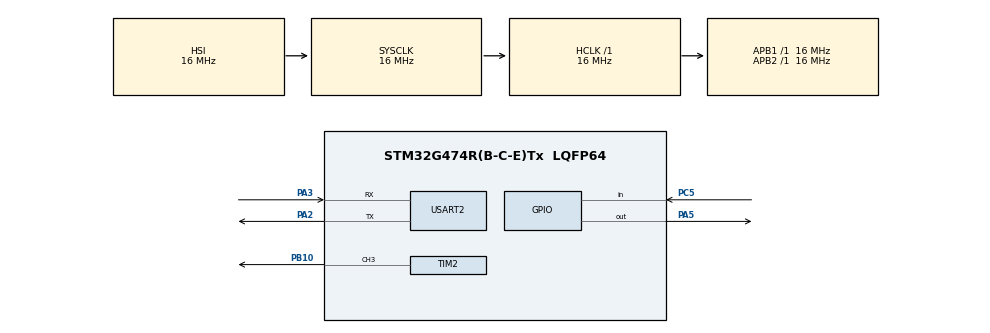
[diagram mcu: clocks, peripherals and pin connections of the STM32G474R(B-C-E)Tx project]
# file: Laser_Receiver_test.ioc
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Mcu.Family=STM32G4
Mcu.Name=STM32G474R(B-C-E)Tx
Mcu.Package=LQFP64
NVIC.PriorityGroup=NVIC_PRIORITYGROUP_4
NVIC.USART2_IRQn=true\:0\:0\:false\:false\:true\:true\:true\:true
PA2.Mode=Asynchronous
PA2.Signal=USART2_TX
PA3.Mode=Asynchronous
PA3.Signal=USART2_RX
PA5.Signal=GPIO_Output
PB10.Signal=S_TIM2_CH3
PC5.Signal=GPIO_Input
ProjectManager.HeapSize=0x200
ProjectManager.StackSize=0x400
ProjectManager.TargetToolchain=STM32CubeIDE
RCC.AHBFreq_Value=16000000
RCC.APB1Freq_Value=16000000
RCC.APB1TimFreq_Value=16000000
RCC.APB2Freq_Value=16000000
RCC.APB2TimFreq_Value=16000000
RCC.CortexFreq_Value=16000000
RCC.EXTERNAL_CLOCK_VALUE=12288000
RCC.HCLKFreq_Value=16000000
RCC.HSE_VALUE=8000000
RCC.HSI48_VALUE=48000000
RCC.HSI_VALUE=16000000
RCC.LSE_VALUE=32768
RCC.SYSCLKFreq_VALUE=16000000
RCC.USBFreq_Value=64000000
RCC.VCOOutputFreq_Value=128000000
SH.S_TIM2_CH3.0=TIM2_CH3,PWM Generation3 CH3
TIM2.Channel-PWM\ Generation3\ CH3=TIM_CHANNEL_3
TIM2.PeriodNoDither=999
TIM2.Prescaler=15
USART2.VirtualMode-Asynchronous=VM_ASYNC
VP_SYS_VS_DBSignals.Mode=DisableDeadBatterySignals
VP_TIM2_VS_ClockSourceINT.Mode=Internal
board=custom

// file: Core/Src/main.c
/* USER CODE BEGIN Header */
/**
  ******************************************************************************
  * @file           : main.c
  * @brief          : Main program body
  ******************************************************************************
  * @attention
  *
  * Copyright (c) 2025 STMicroelectronics.
  * All rights reserved.
  *
  * This software is licensed under terms that can be found in the LICENSE file
  * in the root directory of this software component.
  * If no LICENSE file comes with this software, it is provided AS-IS.
  *
  ******************************************************************************
  */
/* USER CODE END Header */
#include "main.h"

TIM_HandleTypeDef htim2;

UART_HandleTypeDef huart2;

/* USER CODE BEGIN PV */
char tx_buffer[32];
uint8_t cur_light;
uint8_t rx_indx;
uint8_t rx_data[1];
uint8_t rx_buffer[100];
uint8_t transfer_cplt;
/* USER CODE END PV */

void SystemClock_Config(void);
static void MX_GPIO_Init(void);
static void MX_USART2_UART_Init(void);
static void MX_TIM2_Init(void);
/* USER CODE BEGIN PFP */
static void Transmit_message_OOK(uint8_t*, uint8_t);
static void Transmit_message_PPM(uint8_t*, uint8_t);
/* USER CODE END PFP */

int main(void)
{

  /* MCU Configuration--------------------------------------------------------*/

  /* Reset of all peripherals, Initializes the Flash interface and the Systick. */
  HAL_Init();

  /* Configure the system clock */
  SystemClock_Config();

  /* Initialize all configured peripherals */
  MX_GPIO_Init();
  MX_USART2_UART_Init();
  MX_TIM2_Init();
  /* USER CODE BEGIN 2 */
  TIM2->CCR3 = 500;
  HAL_TIM_PWM_Start(&htim2, TIM_CHANNEL_3);

  HAL_UART_Receive_IT(&huart2, rx_data, 1);
  /* USER CODE END 2 */

  /* Infinite loop */
  /* USER CODE BEGIN WHILE */
  while (1)
  {

	  HAL_UART_Transmit(&huart2, (uint8_t*)"Please, insert your message\n\r",29 , 10);
	  while (transfer_cplt != 1){
		  HAL_Delay(100);
	  }
	  HAL_UART_Transmit(&huart2, (uint8_t*)"Starting transmission\n\r", 23, 5);
	  Transmit_message_PPM(rx_buffer, 100);
	  HAL_Delay(80);
	  HAL_UART_Transmit(&huart2, (uint8_t*)"\n\rTransmission complete\n\r", 25, 5);
	  HAL_GPIO_WritePin(GPIOA, GPIO_PIN_5, 0);
	  transfer_cplt = 0;

	  /*
	  cur_light = HAL_GPIO_ReadPin(GPIOC, GPIO_PIN_5);
	  if (cur_light == 1){
		  HAL_GPIO_WritePin(GPIOA, GPIO_PIN_5, 1);
		  TIM2->CCR3 = 800;
	  }else{
		  HAL_GPIO_WritePin(GPIOA, GPIO_PIN_5, 0);
		  TIM2->CCR3 = 0;
	  }

	  sprintf(tx_buffer, "%d", cur_light);
	  HAL_UART_Transmit(&huart2, (uint8_t*)tx_buffer, 1, 10);
	  HAL_UART_Transmit(&huart2, (uint8_t*)"\n\r", 2, 10);
	  HAL_Delay(100);

	  HAL_Delay(1000);
	  HAL_GPIO_WritePin(GPIOA, GPIO_PIN_5, 1);
	  HAL_Delay(1000);
	  HAL_GPIO_WritePin(GPIOA, GPIO_PIN_5, 0);
	  HAL_Delay(1000);
	  */
    /* USER CODE END WHILE */

  }
}

void SystemClock_Config(void)
{
  RCC_OscInitTypeDef RCC_OscInitStruct = {0};
  RCC_ClkInitTypeDef RCC_ClkInitStruct = {0};

  /** Configure the main internal regulator output voltage
  */
  HAL_PWREx_ControlVoltageScaling(PWR_REGULATOR_VOLTAGE_SCALE1);

  /** Initializes the RCC Oscillators according to the specified parameters
  * in the RCC_OscInitTypeDef structure.
  */
  RCC_OscInitStruct.OscillatorType = RCC_OSCILLATORTYPE_HSI;
  RCC_OscInitStruct.HSIState = RCC_HSI_ON;
  RCC_OscInitStruct.HSICalibrationValue = RCC_HSICALIBRATION_DEFAULT;
  RCC_OscInitStruct.PLL.PLLState = RCC_PLL_NONE;
  if (HAL_RCC_OscConfig(&RCC_OscInitStruct) != HAL_OK)
  {
    Error_Handler();
  }

  /** Initializes the CPU, AHB and APB buses clocks
  */
  RCC_ClkInitStruct.ClockType = RCC_CLOCKTYPE_HCLK|RCC_CLOCKTYPE_SYSCLK
                              |RCC_CLOCKTYPE_PCLK1|RCC_CLOCKTYPE_PCLK2;
  RCC_ClkInitStruct.SYSCLKSource = RCC_SYSCLKSOURCE_HSI;
  RCC_ClkInitStruct.AHBCLKDivider = RCC_SYSCLK_DIV1;
  RCC_ClkInitStruct.APB1CLKDivider = RCC_HCLK_DIV1;
  RCC_ClkInitStruct.APB2CLKDivider = RCC_HCLK_DIV1;

  if (HAL_RCC_ClockConfig(&RCC_ClkInitStruct, FLASH_LATENCY_0) != HAL_OK)
  {
    Error_Handler();
  }
}

static void MX_TIM2_Init(void)
{

  TIM_ClockConfigTypeDef sClockSourceConfig = {0};
  TIM_MasterConfigTypeDef sMasterConfig = {0};
  TIM_OC_InitTypeDef sConfigOC = {0};

  htim2.Instance = TIM2;
  htim2.Init.Prescaler = 15;
  htim2.Init.CounterMode = TIM_COUNTERMODE_UP;
  htim2.Init.Period = 999;
  htim2.Init.ClockDivision = TIM_CLOCKDIVISION_DIV1;
  htim2.Init.AutoReloadPreload = TIM_AUTORELOAD_PRELOAD_DISABLE;
  if (HAL_TIM_Base_Init(&htim2) != HAL_OK)
  {
    Error_Handler();
  }
  sClockSourceConfig.ClockSource = TIM_CLOCKSOURCE_INTERNAL;
  if (HAL_TIM_ConfigClockSource(&htim2, &sClockSourceConfig) != HAL_OK)
  {
    Error_Handler();
  }
  if (HAL_TIM_PWM_Init(&htim2) != HAL_OK)
  {
    Error_Handler();
  }
  sMasterConfig.MasterOutputTrigger = TIM_TRGO_RESET;
  sMasterConfig.MasterSlaveMode = TIM_MASTERSLAVEMODE_DISABLE;
  if (HAL_TIMEx_MasterConfigSynchronization(&htim2, &sMasterConfig) != HAL_OK)
  {
    Error_Handler();
  }
  sConfigOC.OCMode = TIM_OCMODE_PWM1;
  sConfigOC.Pulse = 0;
  sConfigOC.OCPolarity = TIM_OCPOLARITY_HIGH;
  sConfigOC.OCFastMode = TIM_OCFAST_DISABLE;
  if (HAL_TIM_PWM_ConfigChannel(&htim2, &sConfigOC, TIM_CHANNEL_3) != HAL_OK)
  {
    Error_Handler();
  }
  HAL_TIM_MspPostInit(&htim2);

}

static void MX_USART2_UART_Init(void)
{

  huart2.Instance = USART2;
  huart2.Init.BaudRate = 115200;
  huart2.Init.WordLength = UART_WORDLENGTH_8B;
  huart2.Init.StopBits = UART_STOPBITS_1;
  huart2.Init.Parity = UART_PARITY_NONE;
  huart2.Init.Mode = UART_MODE_TX_RX;
  huart2.Init.HwFlowCtl = UART_HWCONTROL_NONE;
  huart2.Init.OverSampling = UART_OVERSAMPLING_16;
  huart2.Init.OneBitSampling = UART_ONE_BIT_SAMPLE_DISABLE;
  huart2.Init.ClockPrescaler = UART_PRESCALER_DIV1;
  huart2.AdvancedInit.AdvFeatureInit = UART_ADVFEATURE_NO_INIT;
  if (HAL_UART_Init(&huart2) != HAL_OK)
  {
    Error_Handler();
  }
  if (HAL_UARTEx_SetTxFifoThreshold(&huart2, UART_TXFIFO_THRESHOLD_1_8) != HAL_OK)
  {
    Error_Handler();
  }
  if (HAL_UARTEx_SetRxFifoThreshold(&huart2, UART_RXFIFO_THRESHOLD_1_8) != HAL_OK)
  {
    Error_Handler();
  }
  if (HAL_UARTEx_DisableFifoMode(&huart2) != HAL_OK)
  {
    Error_Handler();
  }

}

static void MX_GPIO_Init(void)
{
  GPIO_InitTypeDef GPIO_InitStruct = {0};

  /* GPIO Ports Clock Enable */
  __HAL_RCC_GPIOA_CLK_ENABLE();
  __HAL_RCC_GPIOC_CLK_ENABLE();
  __HAL_RCC_GPIOB_CLK_ENABLE();

  /*Configure GPIO pin Output Level */
  HAL_GPIO_WritePin(GPIOA, GPIO_PIN_5, GPIO_PIN_RESET);

  /*Configure GPIO pin : PA5 */
  GPIO_InitStruct.Pin = GPIO_PIN_5;
  GPIO_InitStruct.Mode = GPIO_MODE_OUTPUT_PP;
  GPIO_InitStruct.Pull = GPIO_NOPULL;
  GPIO_InitStruct.Speed = GPIO_SPEED_FREQ_LOW;
  HAL_GPIO_Init(GPIOA, &GPIO_InitStruct);

  /*Configure GPIO pin : PC5 */
  GPIO_InitStruct.Pin = GPIO_PIN_5;
  GPIO_InitStruct.Mode = GPIO_MODE_INPUT;
  GPIO_InitStruct.Pull = GPIO_NOPULL;
  HAL_GPIO_Init(GPIOC, &GPIO_InitStruct);

}

/* USER CODE BEGIN 4 */
static void Transmit_message_OOK(uint8_t* message, uint8_t n){
	for (uint8_t i = 0; i < n; i++){
		HAL_UART_Transmit(&huart2, (uint8_t*)".", 1, 5);
		if (message[i] == 49){
			HAL_GPIO_WritePin(GPIOA, GPIO_PIN_5, 1);
			HAL_Delay(10);
		}else if (message[i] == 48){
			HAL_GPIO_WritePin(GPIOA, GPIO_PIN_5, 0);
			HAL_Delay(10);
		}else{
			return;
		}
	}
}

static void Transmit_message_PPM(uint8_t* message, uint8_t n){
	HAL_GPIO_WritePin(GPIOA, GPIO_PIN_5, 1);
	HAL_Delay(1000);
	HAL_GPIO_WritePin(GPIOA, GPIO_PIN_5, 0);
	for (uint8_t i = 0; i < n; i+=2){
		HAL_UART_Transmit(&huart2, (uint8_t*)".", 1, 5);
		if (message[i] == 48 && message[i + 1] == 48){
			HAL_GPIO_WritePin(GPIOA, GPIO_PIN_5, 1);
			HAL_Delay(1000);
			HAL_GPIO_WritePin(GPIOA, GPIO_PIN_5, 0);
			HAL_Delay(3000);
		}else if (message[i] == 48 && message[i + 1] == 49){
			HAL_Delay(1000);
			HAL_GPIO_WritePin(GPIOA, GPIO_PIN_5, 1);
			HAL_Delay(1000);
			HAL_GPIO_WritePin(GPIOA, GPIO_PIN_5, 0);
			HAL_Delay(2000);
		}else if(message[i] == 49 && message[i + 1] == 48){
			HAL_Delay(2000);
			HAL_GPIO_WritePin(GPIOA, GPIO_PIN_5, 1);
			HAL_Delay(1000);
			HAL_GPIO_WritePin(GPIOA, GPIO_PIN_5, 0);
			HAL_Delay(1000);
		}else if(message[i] == 49 && message[i + 1] == 49){
			HAL_Delay(3000);
			HAL_GPIO_WritePin(GPIOA, GPIO_PIN_5, 1);
			HAL_Delay(1000);
			HAL_GPIO_WritePin(GPIOA, GPIO_PIN_5, 0);
		}else{
			return;
		}
	}
}

void HAL_UART_RxCpltCallback(UART_HandleTypeDef *huart)
{
  /* Prevent unused argument(s) compilation warning */
  UNUSED(huart);

  /* NOTE : This function should not be modified, when the callback is needed,
            the HAL_UART_RxCpltCallback can be implemented in the user file.
   */
  if (huart->Instance == USART2){
	  if (rx_indx == 0){
		  for (uint8_t i = 0; i < 100; i++){
			  rx_buffer[i] = 2;
		  }
	  }
	  if (*rx_data != 13){
		  rx_buffer[rx_indx++] = rx_data[0];
	  }else{
		  rx_indx = 0;
		  transfer_cplt = 1;
		  //rx_buffer[rx_indx++] = 5;
		  HAL_UART_Transmit(&huart2, (uint8_t*)"\n\r", 2, 5);
	  }

	  HAL_UART_Receive_IT(&huart2, rx_data, 1);
	  HAL_UART_Transmit(&huart2, rx_data, 1, 5);
  }
}
/* USER CODE END 4 */

void Error_Handler(void)
{
  __disable_irq();
  while (1)
  {
  }
}
